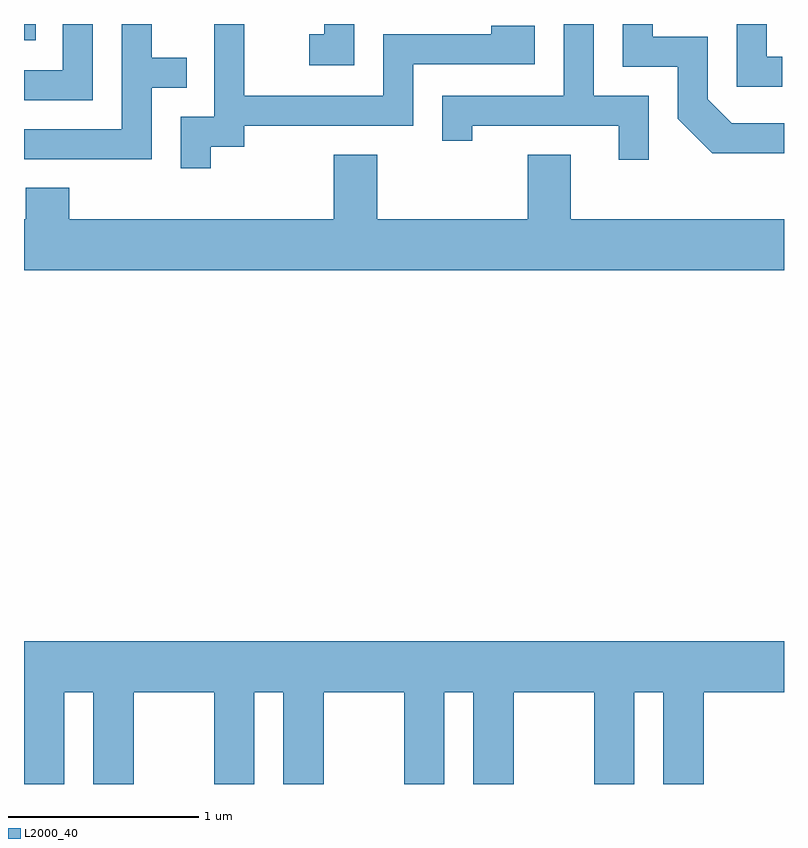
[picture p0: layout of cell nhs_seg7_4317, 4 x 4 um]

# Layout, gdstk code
import gdstk
lib = gdstk.Library(unit=1e-6, precision=1e-09)
def R(c, l, rs):  # rectangles x0, y0, x1, y1
    for r in rs: c.add(gdstk.rectangle(r[:2], r[2:], *l))
def P(c, l, *ps):  # polygons
    for p in ps: c.add(gdstk.Polygon(p, *l))
L2000_40 = (2000, 40)

nhs_seg7_4317 = lib.new_cell('nhs_seg7_4317')
R(nhs_seg7_4317, L2000_40, [(317.611,1742.166,317.673,1742.252)])
P(nhs_seg7_4317, L2000_40, [(321.611,1741.729),(321.337,1741.729),(321.209,1741.857),(321.209,1742.184),(320.919,1742.184),(320.919,1742.252),(320.761,1742.252),(320.761,1742.026),(321.051,1742.026),(321.051,1741.754),(321.234,1741.571),(321.611,1741.571)],
  [(317.974,1742.252),(317.816,1742.252),(317.816,1742.009),(317.611,1742.009),(317.611,1741.851),(317.974,1741.851)],
  [(318.284,1741.916),(318.468,1741.916),(318.468,1742.074),(318.284,1742.074),(318.284,1742.252),(318.126,1742.252),(318.126,1741.699),(317.611,1741.699),(317.611,1741.541),(318.284,1741.541)],
  [(321.603,1742.079),(321.519,1742.079),(321.519,1742.252),(321.361,1742.252),(321.361,1741.921),(321.603,1741.921)],
  [(318.594,1741.606),(318.769,1741.606),(318.769,1741.716),(319.659,1741.716),(319.659,1742.041),(320.299,1742.041),(320.299,1742.244),(320.071,1742.244),(320.071,1742.199),(319.501,1742.199),(319.501,1741.874),(318.769,1741.874),(318.769,1742.252),(318.611,1742.252),(318.611,1741.764),(318.436,1741.764),(318.436,1741.493),(318.594,1741.493)],
  [(320.899,1741.874),(320.609,1741.874),(320.609,1742.252),(320.451,1742.252),(320.451,1741.874),(319.811,1741.874),(319.811,1741.638),(319.969,1741.638),(319.969,1741.716),(320.741,1741.716),(320.741,1741.538),(320.899,1741.538)],
  [(319.349,1742.252),(319.191,1742.252),(319.191,1742.199),(319.113,1742.199),(319.113,1742.036),(319.349,1742.036)],
  [(321.611,1741.224),(320.489,1741.224),(320.489,1741.564),(320.261,1741.564),(320.261,1741.224),(319.469,1741.224),(319.469,1741.564),(319.241,1741.564),(319.241,1741.224),(317.849,1741.224),(317.849,1741.389),(317.621,1741.389),(317.621,1741.224),(317.611,1741.224),(317.611,1740.956),(321.611,1740.956)],
  [(317.611,1738.252),(317.824,1738.252),(317.824,1738.736),(317.976,1738.736),(317.976,1738.252),(318.189,1738.252),(318.189,1738.736),(318.611,1738.736),(318.611,1738.252),(318.824,1738.252),(318.824,1738.736),(318.976,1738.736),(318.976,1738.252),(319.189,1738.252),(319.189,1738.736),(319.611,1738.736),(319.611,1738.252),(319.824,1738.252),(319.824,1738.736),(319.976,1738.736),(319.976,1738.252),(320.189,1738.252),(320.189,1738.736),(320.611,1738.736),(320.611,1738.252),(320.824,1738.252),(320.824,1738.736),(320.976,1738.736),(320.976,1738.252),(321.189,1738.252),(321.189,1738.736),(321.611,1738.736),(321.611,1739.004),(317.611,1739.004)])

lib.write_gds('nhs_seg7_4317.gds')
